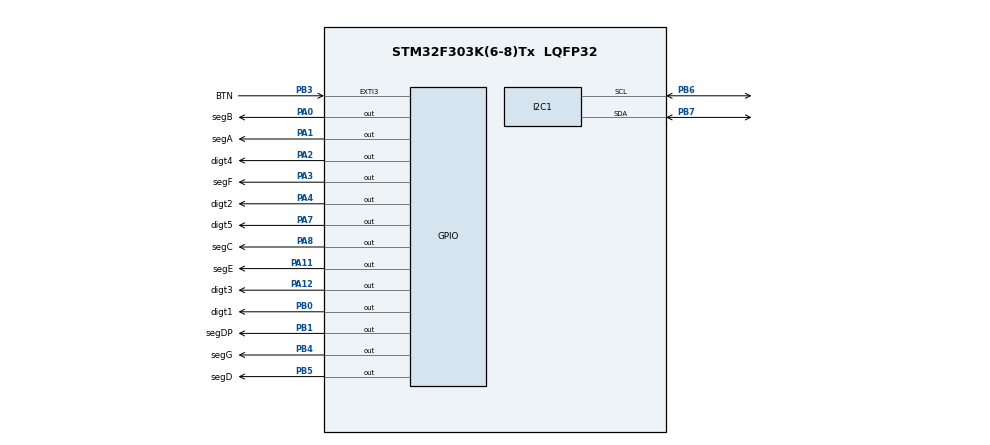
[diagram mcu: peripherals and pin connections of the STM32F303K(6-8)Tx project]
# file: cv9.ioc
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I2C1.OwnAddress=1
Mcu.Family=STM32F3
Mcu.Name=STM32F303K(6-8)Tx
Mcu.Package=LQFP32
NVIC.EXTI3_IRQn=true\:0\:0\:true\:false\:true\:true\:true
NVIC.I2C1_EV_IRQn=true\:0\:0\:false\:false\:true\:true\:true
NVIC.PriorityGroup=NVIC_PRIORITYGROUP_4
NVIC.TIM2_IRQn=true\:1\:0\:true\:false\:true\:true\:true
PA0.GPIO_Label=segB
PA0.GPIO_PuPd=GPIO_PULLUP
PA0.PinState=GPIO_PIN_SET
PA0.Signal=GPIO_Output
PA1.GPIO_Label=segA
PA1.GPIO_PuPd=GPIO_PULLUP
PA1.PinState=GPIO_PIN_SET
PA1.Signal=GPIO_Output
PA11.GPIO_Label=segE
PA11.GPIO_PuPd=GPIO_PULLUP
PA11.PinState=GPIO_PIN_SET
PA11.Signal=GPIO_Output
PA12.GPIO_Label=digt3
PA12.GPIO_PuPd=GPIO_PULLDOWN
PA12.Signal=GPIO_Output
PA2.GPIO_Label=digt4
PA2.GPIO_PuPd=GPIO_PULLDOWN
PA2.Signal=GPIO_Output
PA3.GPIO_Label=segF
PA3.GPIO_PuPd=GPIO_PULLUP
PA3.PinState=GPIO_PIN_SET
PA3.Signal=GPIO_Output
PA4.GPIO_Label=digt2
PA4.GPIO_PuPd=GPIO_PULLDOWN
PA4.Signal=GPIO_Output
PA7.GPIO_Label=digt5
PA7.GPIO_PuPd=GPIO_PULLDOWN
PA7.Signal=GPIO_Output
PA8.GPIO_Label=segC
PA8.GPIO_PuPd=GPIO_PULLUP
PA8.PinState=GPIO_PIN_SET
PA8.Signal=GPIO_Output
PB0.GPIO_Label=digt1
PB0.GPIO_PuPd=GPIO_PULLDOWN
PB0.Signal=GPIO_Output
PB1.GPIO_Label=segDP
PB1.GPIO_PuPd=GPIO_PULLUP
PB1.PinState=GPIO_PIN_SET
PB1.Signal=GPIO_Output
PB3.GPIO_Label=BTN
PB3.GPIO_ModeDefaultEXTI=GPIO_MODE_IT_FALLING
PB3.GPIO_PuPd=GPIO_PULLUP
PB3.Signal=GPXTI3
PB4.GPIO_Label=segG
PB4.GPIO_PuPd=GPIO_PULLUP
PB4.PinState=GPIO_PIN_SET
PB4.Signal=GPIO_Output
PB5.GPIO_Label=segD
PB5.GPIO_PuPd=GPIO_PULLUP
PB5.PinState=GPIO_PIN_SET
PB5.Signal=GPIO_Output
PB6.GPIO_Pu=GPIO_PULLUP
PB6.Mode=I2C
PB6.Signal=I2C1_SCL
PB7.GPIO_Pu=GPIO_PULLUP
PB7.Mode=I2C
PB7.Signal=I2C1_SDA
ProjectManager.HeapSize=0x200
ProjectManager.StackSize=0x400
ProjectManager.TargetToolchain=STM32CubeIDE
RCC.AHBFreq_Value=8000000
RCC.APB1Freq_Value=8000000
RCC.APB2Freq_Value=8000000
RCC.CortexFreq_Value=8000000
RCC.HSE_VALUE=8000000
RCC.HSI_VALUE=8000000
RCC.SYSCLKFreq_VALUE=8000000
TIM2.Channel-Output\ Compare1\ No\ Output=TIM_CHANNEL_1
TIM2.Period=5
TIM2.Prescaler=799
VP_TIM2_VS_ClockSourceINT.Mode=Internal
VP_TIM2_VS_no_output1.Mode=Output Compare1 No Output
board=custom

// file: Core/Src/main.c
/* USER CODE BEGIN Header */
/**
  ******************************************************************************
  * @file           : main.c
  * @brief          : Main program body
  ******************************************************************************
  * @attention
  *
  * <h2><center>&copy; Copyright (c) 2021 STMicroelectronics.
  * All rights reserved.</center></h2>
  *
  * This software component is licensed by ST under BSD 3-Clause license,
  * the "License"; You may not use this file except in compliance with the
  * License. You may obtain a copy of the License at:
  *                        opensource.org/licenses/BSD-3-Clause
  *
  ******************************************************************************
  */
/* USER CODE END Header */
#include "main.h"
#include "i2c.h"
#include "tim.h"
#include "gpio.h"

/* USER CODE BEGIN Includes */
#include "7segment.h"
#include <stdio.h>
#include <string.h>
#include "math.h"
/* USER CODE END Includes */

/* USER CODE BEGIN PV */
uint8_t digitCycle = 0;
uint8_t textPosition = 0;
uint8_t shiftDirection = 1;
uint8_t actualParam = 0;
uint8_t barometer_OK = 0;
uint8_t humidity_OK = 0;
volatile float temperature;
volatile float humidity;
volatile float pressure;
volatile float altitude;
volatile float activeParameter;
const uint8_t textLength[4] = {8,6,10,9};
/* USER CODE END PV */

void SystemClock_Config(void);
/* USER CODE BEGIN PFP */
void refreshDisplay();
void shiftText();
void selectParam();
float getAltitude(void);
/* USER CODE END PFP */

int main(void)
{

  /* MCU Configuration--------------------------------------------------------*/

  /* Reset of all peripherals, Initializes the Flash interface and the Systick. */

  LL_APB2_GRP1_EnableClock(LL_APB2_GRP1_PERIPH_SYSCFG);
  LL_APB1_GRP1_EnableClock(LL_APB1_GRP1_PERIPH_PWR);

  NVIC_SetPriorityGrouping(NVIC_PRIORITYGROUP_4);

  /* System interrupt init*/
  /* SysTick_IRQn interrupt configuration */
  NVIC_SetPriority(SysTick_IRQn, NVIC_EncodePriority(NVIC_GetPriorityGrouping(),15, 0));

  /* Configure the system clock */
  SystemClock_Config();

  /* Initialize all configured peripherals */
  MX_GPIO_Init();
  MX_I2C1_Init();
  MX_TIM2_Init();
  /* USER CODE BEGIN 2 */
  barometer_OK = LPS25HB_init();
  humidity_OK = HTS221_init();
  /* USER CODE END 2 */

  /* Infinite loop */
  /* USER CODE BEGIN WHILE */
	while (1) {
		HTS221_get_temperature(&temperature);
		HTS221_get_humidity(&humidity);
		LPS25HB_get_pressure(&pressure);
		altitude = getAltitude();
		switch (actualParam) {
		case 0:
			activeParameter = temperature;
			break;
		case 1:
			activeParameter = humidity;
			break;
		case 2:
			activeParameter = pressure;
			break;
		case 3:
			activeParameter = altitude;
			break;
		default:
			break;
		}
		switch (digitCycle) {
		case 0:
			writeToDisplay(actualParam, textPosition + digitCycle,
					activeParameter);
			setDigt1();
			break;
		case 1:
			writeToDisplay(actualParam, textPosition + digitCycle,
					activeParameter);
			setDigt2();
			break;
		case 2:
			writeToDisplay(actualParam, textPosition + digitCycle,
					activeParameter);
			setDigt3();
			break;
		case 3:
			writeToDisplay(actualParam, textPosition + digitCycle,
					activeParameter);
			setDigt4();
			break;
		default:
			break;
		}
    /* USER CODE END WHILE */

  }
}

void SystemClock_Config(void)
{
  LL_FLASH_SetLatency(LL_FLASH_LATENCY_0);
  while(LL_FLASH_GetLatency()!= LL_FLASH_LATENCY_0)
  {
  }
  LL_RCC_HSI_Enable();

   /* Wait till HSI is ready */
  while(LL_RCC_HSI_IsReady() != 1)
  {

  }
  LL_RCC_HSI_SetCalibTrimming(16);
  LL_RCC_SetAHBPrescaler(LL_RCC_SYSCLK_DIV_1);
  LL_RCC_SetAPB1Prescaler(LL_RCC_APB1_DIV_1);
  LL_RCC_SetAPB2Prescaler(LL_RCC_APB2_DIV_1);
  LL_RCC_SetSysClkSource(LL_RCC_SYS_CLKSOURCE_HSI);

   /* Wait till System clock is ready */
  while(LL_RCC_GetSysClkSource() != LL_RCC_SYS_CLKSOURCE_STATUS_HSI)
  {

  }
  LL_Init1msTick(8000000);
  LL_SetSystemCoreClock(8000000);
  LL_RCC_SetI2CClockSource(LL_RCC_I2C1_CLKSOURCE_HSI);
}

/* USER CODE BEGIN 4 */
void refreshDisplay(void) {
	digitCycle++;
	if (digitCycle >= 4) {
		digitCycle = 0;
	}
}
void shiftText(void) {
	uint8_t offset = 4;
	textPosition += shiftDirection;
	digitCycle = 0;
	if (temperature<0){
		offset--;
	}
	if (textPosition >= textLength[actualParam]-offset || textPosition <= 0) {
		shiftDirection *= -1;
	}
}
void selectParam(void) {
	actualParam++;
	if (actualParam >= 4) {
		actualParam = 0;
	}
	resetCounters();
}
void resetCounters(void) {
	digitCycle = 0;
	textPosition = 0;
	shiftDirection = 1;
}
float getAltitude(void) {
	float refPress = 1013.25;
	return (float)44330.00 * (1-pow(pressure/refPress,1/5.255));
}

/* USER CODE END 4 */

void Error_Handler(void)
{
  __disable_irq();
  while (1)
  {
  }
}

/************************ (C) COPYRIGHT STMicroelectronics *****END OF FILE****/
